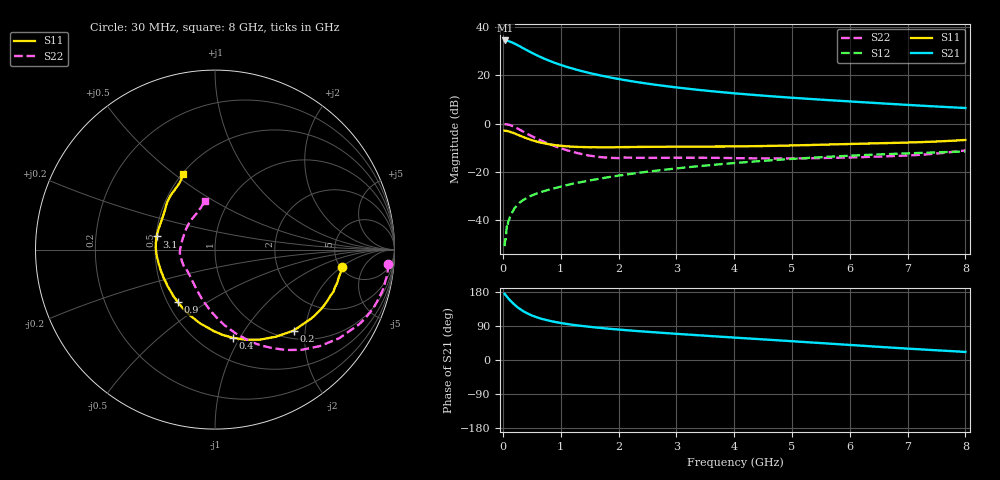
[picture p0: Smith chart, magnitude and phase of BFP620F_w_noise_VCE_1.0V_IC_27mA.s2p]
! Infineon Technologies  Discrete & RF Semiconductors
! BFP620F
! VCE =  1.0 V,  IC =  27 mA
! Common Emitter S-Parameters:  Dec 2014
# GHz  S  MA  R  50
!  f  S11  S21  S12  S22
! GHz  MAG  ANG  MAG  ANG  MAG  ANG  MAG  ANG
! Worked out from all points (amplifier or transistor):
!   95 points, 30 MHz to 8 GHz, reference 50 ohm
!   highest |S21| = 34.4 dB at 40 MHz (marker M1)
!   |S21| within 3 dB of that: start of sweep to 335.6 MHz
!   unconditionally stable (mu >= 1): 2.594 GHz to end of sweep
!   at 300 MHz: K = 0.35, MSG = 32.2 dB, |S12| = -32.5 dB
!   at 3.3 GHz: K = 1.02, MAG = 15.2 dB, |S12| = -17.8 dB
!   at 8 GHz: K = 1.06, MAG = 7.5 dB, |S12| = -11.5 dB
!   lowest NFmin = 1.05 dB at 450 MHz
!   S11 on the Smith chart (normalised r, x): 30 MHz: 5.17, -2.05; 200 MHz: 1.16, -1.74; 400 MHz: 0.71, -0.93; 900 MHz: 0.57, -0.38; 3.1 GHz: 0.50, +0.08; 8 GHz: 0.50, +0.54
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0.03  0.715 -7.8  52.51 174.6  0.0029 82.9  0.9688 -4.7
0.04  0.7119 -10.2  52.6 172.6  0.004 89.8  0.9699 -6.7
0.08  0.7002 -19.6  51.83 165.3  0.007 85.0  0.9585 -14.5
0.12  0.6778 -29.1  49.8 158.2  0.0115 77.9  0.9318 -22.1
0.15  0.6593 -35.7  48.35 153.5  0.0136 74.5  0.9042 -27.4
0.2  0.6287 -45.9  45.35 146.2  0.0176 70.4  0.8503 -35.5
0.25  0.592 -55.1  42.35 139.7  0.0206 67.9  0.7933 -42.7
0.3  0.5603 -63.6  39.38 134.1  0.0236 66.2  0.738 -49.2
0.4  0.5007 -78.7  33.84 124.8  0.0283 62.5  0.6328 -60.0
0.5  0.4542 -90.8  29.24 117.6  0.0325 61.2  0.5494 -68.9
0.6  0.4191 -101.5  25.51 112.0  0.0362 60.0  0.4791 -76.3
0.7  0.3927 -110.5  22.53 107.4  0.0396 59.6  0.4236 -83.0
0.9  0.3578 -125.4  18.08 100.5  0.0462 59.4  0.3401 -94.5
1.1  0.3381 -137.4  15.01 95.2  0.053 59.6  0.2829 -105.0
1.4  0.3267 -151.4  11.92 89.3  0.063 59.9  0.2293 -119.8
2  0.3245 -170.9  8.385 80.4  0.0838 58.9  0.1932 -146.1
2.7  0.3313 174.1  6.227 72.3  0.1077 56.2  0.1953 -163.3
3.1  0.3337 167.3  5.434 68.1  0.1213 54.2  0.1962 -170.0
4.1  0.338 152.9  4.142 58.2  0.1555 48.6  0.1921 176.1
5.4  0.3626 139.3  3.189 45.6  0.1985 39.7  0.1925 153.1
6.7  0.3965 126.2  2.559 32.9  0.2346 29.7  0.2117 128.8
8  0.4585 112.8  2.101 21.2  0.2651 20.2  0.2782 101.2
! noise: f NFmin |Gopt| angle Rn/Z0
0.45  1.05  0.02  -178  0.19
0.9  1.09  0.03  -171  0.15
1.5  1.1  0.05  -151  0.16
1.8  1.12  0.06  -148  0.17
1.9  1.12  0.07  -148  0.16
2.4  1.14  0.08  -147  0.16
3.5  1.21  0.11  -143  0.17
5.5  1.36  0.19  238  0.12
6  1.4  0.2  259  0.15
